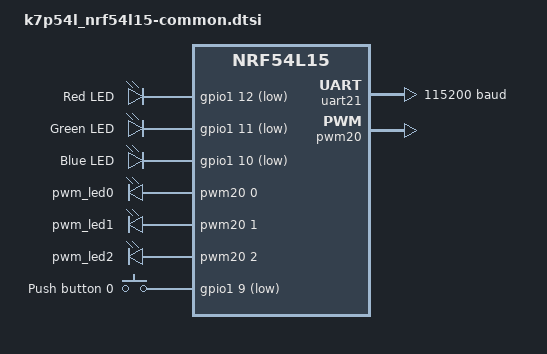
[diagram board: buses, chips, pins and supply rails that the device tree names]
/*
 * Copyright (c) 2024 Nordic Semiconductor ASA
 *
 * SPDX-License-Identifier: Apache-2.0
 */

#include "k7p54l_nrf54l15-pinctrl.dtsi"

/ {
	leds {
		compatible = "gpio-leds";
		led0: led_0 {
			gpios = <&gpio1 12 GPIO_ACTIVE_LOW>;
			label = "Red LED";
		};
		led1: led_1 {
			gpios = <&gpio1 11 GPIO_ACTIVE_LOW>;
			label = "Green LED";
		};
		led2: led_2 {
			gpios = <&gpio1 10 GPIO_ACTIVE_LOW>;
			label = "Blue LED";
		};
	};

	pwmleds {
		compatible = "pwm-leds";
		pwm_led0: pwm_led_0 {
			pwms = <&pwm20 0 PWM_MSEC(20) PWM_POLARITY_INVERTED>;
		};
		pwm_led1: pwm_led_1 {
			pwms = <&pwm20 1 PWM_MSEC(20) PWM_POLARITY_INVERTED>;
		};
		pwm_led2: pwm_led_2 {
			pwms = <&pwm20 2 PWM_MSEC(20) PWM_POLARITY_INVERTED>;
		};
	};

	buttons {
		compatible = "gpio-keys";
		button0: button_0 {
			gpios = <&gpio1 9 (GPIO_PULL_UP | GPIO_ACTIVE_LOW)>;
			label = "Push button 0";
			zephyr,code = <INPUT_KEY_0>;
		};
	};

	aliases {
		led0 = &led0;
		led1 = &led1;
		led2 = &led2;
		pwm-led0 = &pwm_led0;
		pwm-led1 = &pwm_led1;
		pwm-led2 = &pwm_led2;
		sw0 = &button0;
		watchdog0 = &wdt31;
		accel0 = &lis2dw12;
	};
};

&uart21 {
	current-speed = <115200>;
	pinctrl-0 = <&uart21_default>;
	pinctrl-1 = <&uart21_sleep>;
	pinctrl-names = "default", "sleep";
};

&pwm20 {
	status = "okay";
	pinctrl-0 = <&pwm20_default>;
	pinctrl-1 = <&pwm20_sleep>;
	pinctrl-names = "default", "sleep";
};


